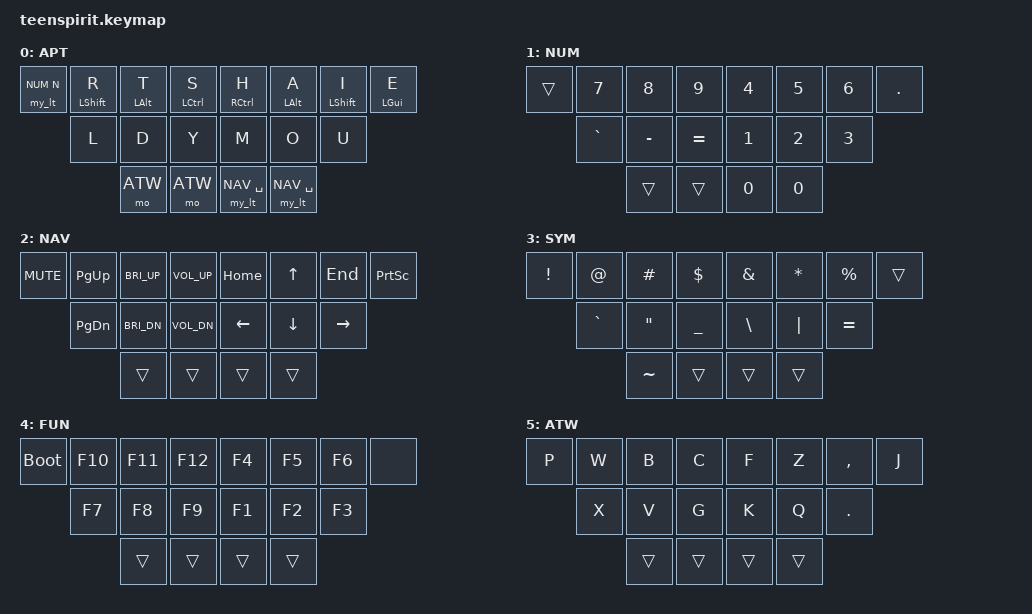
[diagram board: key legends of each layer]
#include <behaviors.dtsi>
#include <dt-bindings/zmk/keys.h>
#include <dt-bindings/zmk/bt.h>
#include <dt-bindings/zmk/outputs.h>

#define APT 0
#define NUM 1
#define NAV 2
#define SYM 3
#define FUN 4
#define ATW 5

// &lt {
//     quick_tap_ms = <160>;
// };

&caps_word {
    continue-list = <UNDERSCORE MINUS BSPC LSHFT RSHFT>;
};

/ {
    macros {
	/*
	// TODO: the following two macros only needed for mod-morphed sch
	//       or activation through different combos.
	// -> remove if unneeded!
        macro_sch: macro_sch {
            label = "Macro_sch";
            compatible = "zmk,behavior-macro";
            #binding-cells = <0>;
            bindings = <&macro_tap &kp S &kp C &kp H>;
	    tap-ms = <10>;
        };
        macro_shifted_sch: macro_shifted_sch {
            label = "Macro_Sch";
            compatible = "zmk,behavior-macro";
            #binding-cells = <0>;
            bindings = <&macro_tap &kp LS(S) &kp C &kp H>;
	    tap-ms = <10>;
        };
	// */

	// promising candidate, only problem: impossible to hold shift through
	// the activation and still have it registered as held afterwards
        macro_shiftable_sch: macro_shiftable_sch {
            label = "Macro_shiftable_sch";
            compatible = "zmk,behavior-macro";
            #binding-cells = <0>;
            bindings = <
                    &macro_tap &kp S
                    &macro_release &kp RSHIFT
                    &macro_tap &kp C &kp H
            >;
            tap-ms = <10>;
        };
    };
};


#define COMBO(NAME, BINDINGS, KEYPOS) \
combo_##NAME { \
    timeout-ms = <30>; \
    bindings = <BINDINGS>; \
    key-positions = <KEYPOS>; \
};

//  _______________________  _______________________
// |  0  |  1  |  2  |  3  \/   4 |   5 |   6 |   7 |
//       \  8  |  9  | 10  /\  11 |  12 |  13 /
//             \ 14  | 15 /  \ 16 |  17 /
//              ----------    ----------

/{
    combos {
        compatible = "zmk,combos";
//Basics	
	COMBO(esc, &kp ESC, 8 9)
	COMBO(tab, &kp TAB, 9 10)
	COMBO(tab2, &kp TAB, 0 1)
	COMBO(lenter, &kp ENTER, 8 9 10)
	COMBO(renter, &kp ENTER, 11 12 13)
	COMBO(backspace, &kp BSPC, 11 12)
	COMBO(delete, &kp DEL, 12 13)
	COMBO(bword, &kp RC(BSPC), 11 13)
//Punctuation
	COMBO(slashq, &kp SLASH, 6 7)
	COMBO(quotemark, &kp SQT, 5 7)
	COMBO(bkslash, &kp BACKSLASH, 6 13)
	COMBO(lbracket, &kp LBKT, 3 10)
	COMBO(rbracket, &kp RBKT, 4 11)
	COMBO(semi, &kp SEMI, 5 12)
//Layers
	COMBO(num-toggle, &mo NUM, 0 14)
	COMBO(num-toggle2, &mo NUM, 0 15)
	COMBO(fun-toggle, &mo FUN, 14 17)
	COMBO(fun-toggle2, &mo FUN, 15 16)
	COMBO(xtra-toggle, &mo SYM, 7 15)
	COMBO(xtra-toggle2, &mo SYM, 7 16)
//Home Row Combos
	COMBO(ca-left, &kp LC(LALT), 2 3)
	COMBO(cs-left, &kp LC(LSHIFT), 1 3)
	COMBO(as-left, &kp LS(LALT), 1 2)
	COMBO(ca-right, &kp RC(RALT), 4 5)
	COMBO(cs-right, &kp RC(RSHIFT), 4 6)
	COMBO(as-right, &kp RS(RALT), 5 6)
    };
};

//  _______________________  _______________________
// |  0  |  1  |  2  |  3  \/   4 |   5 |   6 |   7 |
//       \  8  |  9  | 10  /\  11 |  12 |  13 /
//             \ 14  | 15 /  \ 16 |  17 /
//              ----------    ----------


/ {

    behaviors {
        hl: homerow_mods_left {
            compatible = "zmk,behavior-hold-tap";
            label = "homerow mods left";
            #binding-cells = <2>;
            // flavor = "tap-preferred";
            flavor = "balanced";
            tapping-term-ms = <150>;
            quick-tap-ms = <30>; // was 100
            // global-quick-tap;
            bindings = <&kp>, <&kp>;
            // opposite side hand keys
            hold-trigger-key-positions = <4 5 6 7 11 12 13 14 15 16 17>;
        };
        hr: homerow_mods_right {
            compatible = "zmk,behavior-hold-tap";
            label = "homerow mods right";
            #binding-cells = <2>;
            // flavor = "tap-preferred";
            flavor = "balanced";
            tapping-term-ms = <150>;
            quick-tap-ms = <30>; // was 100
            // global-quick-tap;
            bindings = <&kp>, <&kp>;
            // opposite side hand keys
            hold-trigger-key-positions = <0 1 2 3 8 9 10 14 15 16 17>;
        };

        my_lt: my_layer_taps {
            compatible = "zmk,behavior-hold-tap";
            label = "my layer taps";
            #binding-cells = <2>;
            // flavor = "tap-preferred";
            flavor = "balanced";
            tapping-term-ms = <150>;
            quick-tap-ms = <100>;
            // global-quick-tap;
            bindings = <&mo &kp>, <&kp>;
            // non-thumb keys
            // hold-trigger-key-positions = <0 1 2 3 4 5 6 7 8 9 10 11 12 13>;
        };

        dotcol: dot_colon {
            compatible = "zmk,behavior-mod-morph";
            label = "DOT_COL";
            #binding-cells = <0>;
            bindings = <&kp DOT>, <&kp COLON>;
            mods = <(MOD_LSFT|MOD_RSFT)>;
        };
        comsem: comma_semicolon {
            compatible = "zmk,behavior-mod-morph";
            label = "COM_SEM";
            #binding-cells = <0>;
            bindings = <&kp COMMA>, <&kp SEMI>;
            mods = <(MOD_LSFT|MOD_RSFT)>;
        };

	/*
	// CAVE: this thing doesn't know about macro execution length,
	// so might lead to outputs like "ScH" while holding shift
	modmorphsch: modmorph_sch {
	    compatible = "zmk,behavior-mod-morph";
	    label = "MODMORPH SCH";
	    #binding-cells = <0>;
	    bindings = <&macro_sch>, <&macro_shifted_sch>;
	    mods = <(MOD_LSFT|MOD_RSFT)>;
	};
	// */
    };
};


/ {
    keymap {
        compatible = "zmk,keymap";

        aptmak {
            label = "APT";

            bindings = <
                &my_lt NUM N    &hl LSHIFT R     &hl LALT T     &hl LCTRL S       &hr RCTRL H    &hr LALT A     &hr LSHIFT I     &hr LGUI E
                               &kp L          &kp D          &kp Y              &kp M          &kp O          &kp U
                                              &mo ATW	     &mo ATW  		&my_lt NAV SPACE   &my_lt NAV SPACE
            >;
        };
        numbers {
            label = "NUM";

            bindings = <
                &trans		 &kp N7        &kp N8        &kp N9             &kp N4         &kp N5         &kp N6         &kp PERIOD
                                 &kp GRAVE     &kp MINUS     &kp EQUAL          &kp N1         &kp N2         &kp N3
                                              &trans         &trans             &kp N0          &kp N0
            >;
        };
        navigation {
            label = "NAV";

            bindings = <
                &kp C_MUTE     &kp PG_UP      &kp C_BRI_UP      &kp C_VOL_UP       &kp HOME       &kp UP         &kp END          &kp PSCRN
                               &kp PG_DN      &kp C_BRI_DN      &kp C_VOL_DN       &kp LEFT       &kp DOWN       &kp RIGHT
                                              &trans            &trans		       &trans         &trans
            >;
        };
        symbols {
            label = "SYM";

            bindings = <
                &kp EXCL       &kp AT         &kp HASH       &kp DOLLAR         &kp AMPERSAND  &kp ASTERISK   &kp PERCENT    &trans
                               &kp GRAVE      &kp DQT        &kp UNDERSCORE     &kp BACKSLASH  &kp PIPE       &kp EQUAL
                                              &kp TILDE      &trans             &trans         &trans
            >;
        };
        function {
            label = "FUN";

            bindings = <
                &bootloader    &kp F10        &kp F11        &kp F12            &kp F4         &kp F5         &kp F6         &none
                               &kp F7         &kp F8         &kp F9             &kp F1         &kp F2         &kp F3
                                              &trans         &trans             &trans         &trans
            >;
        };
        alphatwo {
            label = "ATW";

            bindings = <
                &kp P		&kp W         &kp B          &kp C              &kp F          &kp Z          &kp COMMA         &kp J
                               	&kp X         &kp V          &kp G              &kp K          &kp Q          &kp PERIOD
                                              &trans         &trans             &trans         &trans
            >;
        };
    };
};
